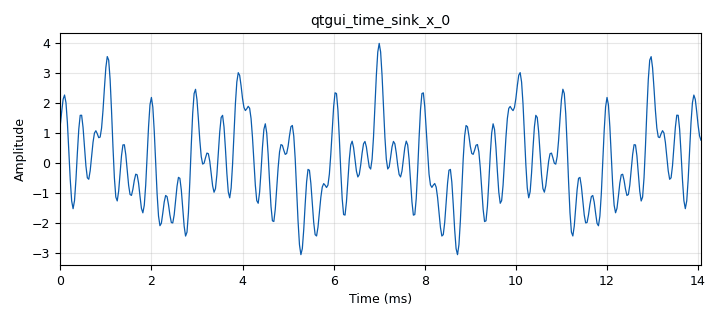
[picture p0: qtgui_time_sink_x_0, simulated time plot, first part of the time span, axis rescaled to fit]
<?xml version='1.0' encoding='utf-8'?>
<?grc format='1' created='3.7.12'?>
<flow_graph>
<block>
<key>options</key>
<param><key>id</key><value>top_block</value></param>
<param><key>generate_options</key><value>qt_gui</value></param>
</block>
<block>
<key>variable</key>
<param><key>id</key><value>samp_rate</value></param>
<param><key>value</key><value>32000</value></param>
</block>
<block>
<key>analog_sig_source_x</key>
<param><key>id</key><value>analog_sig_source_x_0</value></param>
<param><key>amp</key><value>1</value></param>
<param><key>freq</key><value>320</value></param>
<param><key>offset</key><value>0</value></param>
<param><key>type</key><value>float</value></param>
<param><key>samp_rate</key><value>samp_rate</value></param>
<param><key>waveform</key><value>analog.GR_COS_WAVE</value></param>
</block>
<block>
<key>analog_sig_source_x</key>
<param><key>id</key><value>analog_sig_source_x_0_0</value></param>
<param><key>amp</key><value>1</value></param>
<param><key>freq</key><value>1000</value></param>
<param><key>offset</key><value>0</value></param>
<param><key>type</key><value>float</value></param>
<param><key>samp_rate</key><value>samp_rate</value></param>
<param><key>waveform</key><value>analog.GR_COS_WAVE</value></param>
</block>
<block>
<key>analog_sig_source_x</key>
<param><key>id</key><value>analog_sig_source_x_0_1</value></param>
<param><key>amp</key><value>1</value></param>
<param><key>freq</key><value>2000</value></param>
<param><key>offset</key><value>0</value></param>
<param><key>type</key><value>float</value></param>
<param><key>samp_rate</key><value>samp_rate</value></param>
<param><key>waveform</key><value>analog.GR_COS_WAVE</value></param>
</block>
<block>
<key>analog_sig_source_x</key>
<param><key>id</key><value>analog_sig_source_x_0_2</value></param>
<param><key>amp</key><value>1</value></param>
<param><key>freq</key><value>3200</value></param>
<param><key>offset</key><value>0</value></param>
<param><key>type</key><value>float</value></param>
<param><key>samp_rate</key><value>samp_rate</value></param>
<param><key>waveform</key><value>analog.GR_COS_WAVE</value></param>
</block>
<block>
<key>blocks_add_xx</key>
<param><key>id</key><value>blocks_add_xx_0</value></param>
<param><key>type</key><value>float</value></param>
<param><key>num_inputs</key><value>4</value></param>
</block>
<block>
<key>qtgui_time_sink_x</key>
<param><key>id</key><value>qtgui_time_sink_x_0</value></param>
<param><key>color1</key><value>"blue"</value></param>
<param><key>label1</key><value></value></param>
<param><key>size</key><value>1024</value></param>
<param><key>srate</key><value>samp_rate</value></param>
<param><key>type</key><value>float</value></param>
</block>
<connection><source_block_id>analog_sig_source_x_0</source_block_id><sink_block_id>blocks_add_xx_0</sink_block_id><source_key>0</source_key><sink_key>0</sink_key></connection>
<connection><source_block_id>analog_sig_source_x_0_0</source_block_id><sink_block_id>blocks_add_xx_0</sink_block_id><source_key>0</source_key><sink_key>1</sink_key></connection>
<connection><source_block_id>analog_sig_source_x_0_1</source_block_id><sink_block_id>blocks_add_xx_0</sink_block_id><source_key>0</source_key><sink_key>2</sink_key></connection>
<connection><source_block_id>analog_sig_source_x_0_2</source_block_id><sink_block_id>blocks_add_xx_0</sink_block_id><source_key>0</source_key><sink_key>3</sink_key></connection>
<connection><source_block_id>blocks_add_xx_0</source_block_id><sink_block_id>qtgui_time_sink_x_0</sink_block_id><source_key>0</source_key><sink_key>0</sink_key></connection>
</flow_graph>
